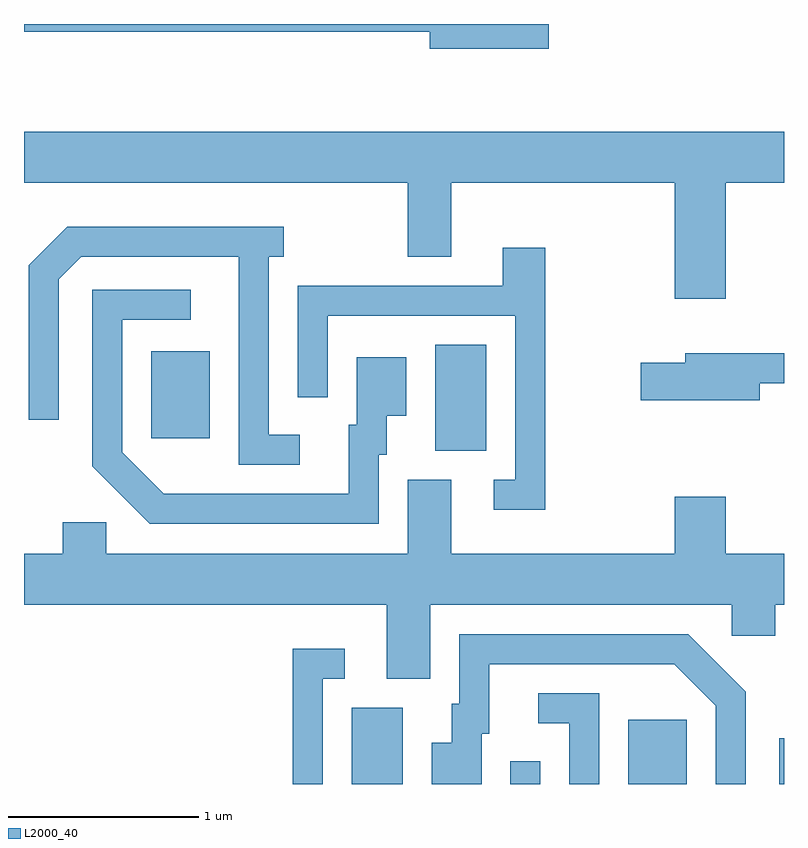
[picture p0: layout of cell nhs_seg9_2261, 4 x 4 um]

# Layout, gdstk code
import gdstk
lib = gdstk.Library(unit=1e-6, precision=1e-09)
def R(c, l, rs):  # rectangles x0, y0, x1, y1
    for r in rs: c.add(gdstk.rectangle(r[:2], r[2:], *l))
def P(c, l, *ps):  # polygons
    for p in ps: c.add(gdstk.Polygon(p, *l))
L2000_40 = (2000, 40)

nhs_seg9_2261 = lib.new_cell('nhs_seg9_2261')
R(nhs_seg9_2261, L2000_40, [(253.336,1986.432,253.604,1986.834), (254.171,1986.432,254.329,1986.553), (254.791,1986.432,255.099,1986.769), (255.586,1986.432,255.611,1986.673), (253.776,1988.186,254.044,1988.744), (252.281,1988.251,252.589,1988.709)])
P(nhs_seg9_2261, L2000_40, [(254.374,1990.432),(251.611,1990.432),(251.611,1990.391),(253.746,1990.391),(253.746,1990.301),(254.374,1990.301)],
  [(255.304,1989.596),(255.611,1989.596),(255.611,1989.864),(251.611,1989.864),(251.611,1989.596),(253.631,1989.596),(253.631,1989.206),(253.859,1989.206),(253.859,1989.596),(255.036,1989.596),(255.036,1988.986),(255.304,1988.986)],
  [(253.063,1988.269),(252.899,1988.269),(252.899,1989.206),(252.978,1989.206),(252.978,1989.364),(251.839,1989.364),(251.636,1989.162),(251.636,1988.348),(251.794,1988.348),(251.794,1989.089),(251.912,1989.206),(252.741,1989.206),(252.741,1988.111),(253.063,1988.111)],
  [(254.354,1989.254),(254.131,1989.254),(254.131,1989.054),(253.051,1989.054),(253.051,1988.468),(253.209,1988.468),(253.209,1988.896),(254.196,1988.896),(254.196,1988.034),(254.083,1988.034),(254.083,1987.876),(254.354,1987.876)],
  [(253.479,1988.166),(253.519,1988.166),(253.519,1988.371),(253.624,1988.371),(253.624,1988.679),(253.361,1988.679),(253.361,1988.324),(253.321,1988.324),(253.321,1987.959),(252.347,1987.959),(252.129,1988.177),(252.129,1988.876),(252.488,1988.876),(252.488,1989.034),(251.971,1989.034),(251.971,1988.104),(252.274,1987.801),(253.479,1987.801)],
  [(255.484,1988.541),(255.611,1988.541),(255.611,1988.699),(255.091,1988.699),(255.091,1988.649),(254.856,1988.649),(254.856,1988.451),(255.484,1988.451)],
  [(253.749,1987.376),(255.336,1987.376),(255.336,1987.211),(255.564,1987.211),(255.564,1987.376),(255.611,1987.376),(255.611,1987.644),(255.304,1987.644),(255.304,1987.944),(255.036,1987.944),(255.036,1987.644),(253.859,1987.644),(253.859,1988.034),(253.631,1988.034),(253.631,1987.644),(252.044,1987.644),(252.044,1987.809),(251.816,1987.809),(251.816,1987.644),(251.611,1987.644),(251.611,1987.376),(253.521,1987.376),(253.521,1986.986),(253.749,1986.986)],
  [(254.019,1986.696),(254.059,1986.696),(254.059,1987.061),(255.034,1987.061),(255.251,1986.844),(255.251,1986.432),(255.409,1986.432),(255.409,1986.917),(255.107,1987.219),(253.901,1987.219),(253.901,1986.854),(253.861,1986.854),(253.861,1986.649),(253.756,1986.649),(253.756,1986.432),(254.019,1986.432)],
  [(253.184,1986.986),(253.298,1986.986),(253.298,1987.144),(253.026,1987.144),(253.026,1986.432),(253.184,1986.432)],
  [(254.639,1986.909),(254.318,1986.909),(254.318,1986.751),(254.481,1986.751),(254.481,1986.432),(254.639,1986.432)])

lib.write_gds('nhs_seg9_2261.gds')
